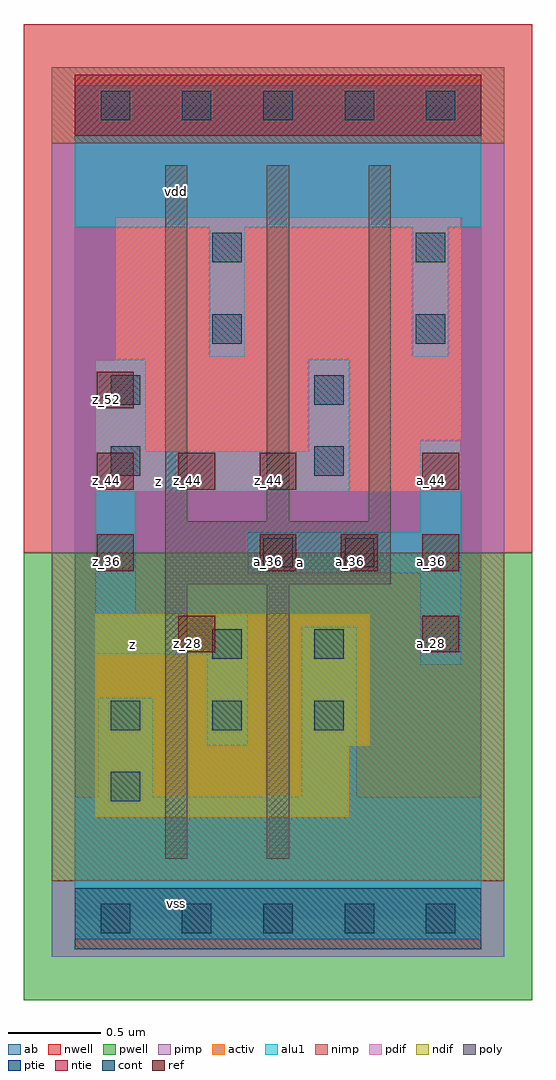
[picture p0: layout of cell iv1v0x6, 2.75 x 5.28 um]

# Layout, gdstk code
import gdstk
lib = gdstk.Library(unit=1e-6, precision=2.5e-09)
def R(c, l, rs):  # rectangles x0, y0, x1, y1
    for r in rs: c.add(gdstk.rectangle(r[:2], r[2:], *l))
def A(c, l, x, y, w, h, nx, ny, dx, dy):  # array of equal rectangles
    R(c, l, [(x+i*dx, y+j*dy, x+i*dx+w, y+j*dy+h) for i in range(nx) for j in range(ny)])
ndif = (3, 0)
pdif = (4, 0)
ntie = (5, 0)
ptie = (6, 0)
ref = (24, 0)
cont = (25, 0)
pwell = (41, 0)
nwell = (42, 0)
activ = (43, 0)
pimp = (44, 0)
nimp = (45, 0)
poly = (46, 0)
alu1 = (49, 0)
ab = (63, 0)

iv1v0x6 = lib.new_cell('iv1v0x6')
R(iv1v0x6, ndif, [(0.11,0.55,1.485,0.935), (0.11,0.935,1.595,1.65)])
R(iv1v0x6, pdif, [(0.11,2.31,2.09,3.025), (0.22,3.025,2.09,3.795)])
R(iv1v0x6, ntie, [(0,4.235,2.2,4.565)])
R(iv1v0x6, ptie, [(0,-0.165,2.2,0.165)])
A(iv1v0x6, ref, 1, 1.88, 0.2, 0.2, 3, 1, 0.44, 0)
A(iv1v0x6, ref, 0.12, 2.32, 0.2, 0.2, 3, 1, 0.44, 0)
R(iv1v0x6, ref, [(0.56,1.44,0.76,1.64), (1.88,1.44,2.08,1.64), (0.12,1.88,0.32,2.08), (1.88,2.32,2.08,2.52), (0.12,2.76,0.32,2.96)])
A(iv1v0x6, cont, 0.14, -0.08, 0.16, 0.16, 5, 2, 0.44, 4.4)
A(iv1v0x6, cont, 0.195, 1.02, 0.16, 0.16, 3, 1, 0.55, 0)
R(iv1v0x6, cont, [(0.195,0.635,0.355,0.795), (0.745,1.405,0.905,1.565), (1.295,1.405,1.455,1.565), (1.02,1.9,1.18,2.06), (1.46,1.9,1.62,2.06), (0.195,2.395,0.355,2.555), (1.295,2.395,1.455,2.555), (0.195,2.78,0.355,2.94), (1.295,2.78,1.455,2.94), (0.745,3.11,0.905,3.27), (1.845,3.11,2.005,3.27), (0.745,3.55,0.905,3.71), (1.845,3.55,2.005,3.71)])
R(iv1v0x6, pwell, [(-0.275,-0.44,2.475,1.98)])
R(iv1v0x6, nwell, [(-0.275,1.98,2.475,4.84)])
R(iv1v0x6, activ, [(0,-0.165,2.2,0.165), (0.11,0.55,1.485,0.935), (0.11,0.935,1.595,1.65), (0.11,2.31,2.09,3.025), (0.22,3.025,2.09,3.795), (0,4.235,2.2,4.565)])
R(iv1v0x6, pimp, [(-0.125,-0.205,2.325,0.205), (-0.125,1.98,2.325,4.195)])
R(iv1v0x6, nimp, [(-0.125,0.205,2.325,1.98), (-0.125,4.195,2.325,4.605)])
A(iv1v0x6, poly, 0.49, 2.15, 0.12, 1.925, 3, 1, 0.55, 0)
R(iv1v0x6, poly, [(0.49,0.325,0.61,1.81), (1.04,0.325,1.16,1.81), (0.49,1.81,1.71,2.15)])
R(iv1v0x6, alu1, [(0,-0.11,2.2,0.66), (0.125,0.66,0.425,1.195), (1.225,0.66,1.525,1.58), (0.715,0.935,0.935,1.43), (1.87,1.375,2.09,1.87), (0.11,1.43,0.935,1.65), (0.11,1.65,0.33,2.31), (0.935,1.87,2.09,2.09), (1.87,2.09,2.09,2.585), (0.11,2.31,1.485,2.53), (0.11,2.53,0.385,3.025), (1.265,2.53,1.485,3.025), (0.73,3.04,0.92,3.74), (1.83,3.04,2.02,3.74), (0,3.74,2.2,4.51)])
R(iv1v0x6, ab, [(0,0,2.2,4.4)])
iv1v0x6.add(gdstk.Label('vss', (0.55,0.0825), layer=49, texttype=0))
iv1v0x6.add(gdstk.Label('z', (0.315,1.485), layer=49, texttype=0))
iv1v0x6.add(gdstk.Label('a', (1.2225,1.925), layer=49, texttype=0))
iv1v0x6.add(gdstk.Label('z', (0.4525,2.365), layer=49, texttype=0))
iv1v0x6.add(gdstk.Label('vdd', (0.55,3.9325), layer=49, texttype=0))
iv1v0x6.add(gdstk.Label('z_28', (0.61,1.49), layer=24, texttype=0))
iv1v0x6.add(gdstk.Label('z_44', (0.61,2.37), layer=24, texttype=0))
iv1v0x6.add(gdstk.Label('a_36', (1.05,1.93), layer=24, texttype=0))
iv1v0x6.add(gdstk.Label('z_44', (1.05,2.37), layer=24, texttype=0))
iv1v0x6.add(gdstk.Label('a_36', (1.49,1.93), layer=24, texttype=0))
iv1v0x6.add(gdstk.Label('a_28', (1.93,1.49), layer=24, texttype=0))
iv1v0x6.add(gdstk.Label('a_36', (1.93,1.93), layer=24, texttype=0))
iv1v0x6.add(gdstk.Label('a_44', (1.93,2.37), layer=24, texttype=0))
iv1v0x6.add(gdstk.Label('z_36', (0.17,1.93), layer=24, texttype=0))
iv1v0x6.add(gdstk.Label('z_44', (0.17,2.37), layer=24, texttype=0))
iv1v0x6.add(gdstk.Label('z_52', (0.17,2.81), layer=24, texttype=0))

lib.write_gds('iv1v0x6.gds')
